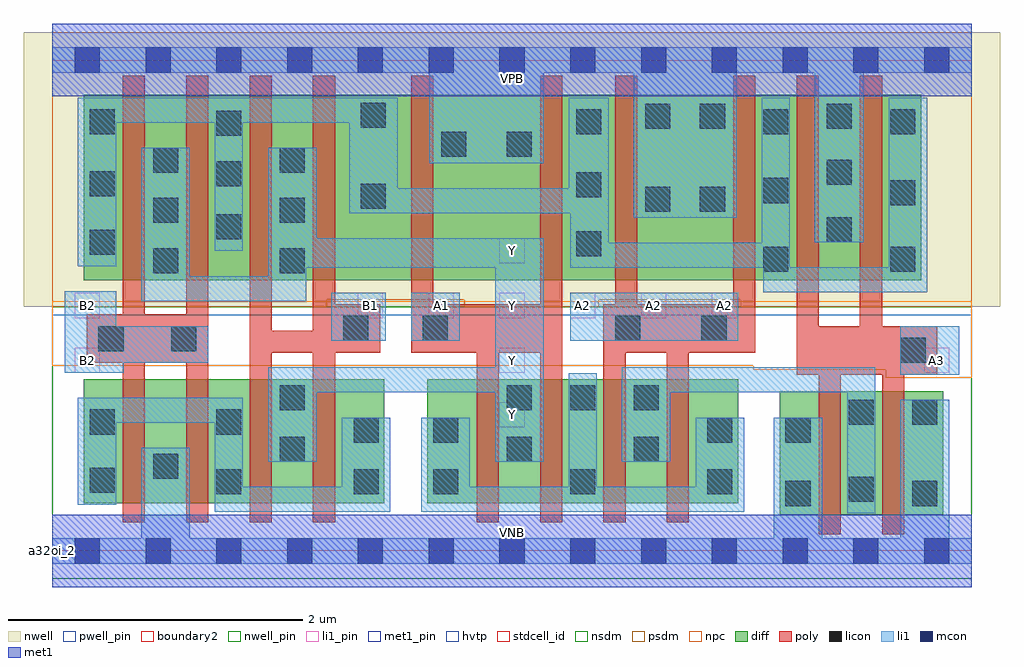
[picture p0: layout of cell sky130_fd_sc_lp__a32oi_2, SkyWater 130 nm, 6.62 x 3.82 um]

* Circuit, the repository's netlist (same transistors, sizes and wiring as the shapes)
* Copyright 2020 The SkyWater PDK Authors
*
* Licensed under the Apache License, Version 2.0 (the "License");
* you may not use this file except in compliance with the License.
* You may obtain a copy of the License at
*
*     https://www.apache.org/licenses/LICENSE-2.0
*
* Unless required by applicable law or agreed to in writing, software
* distributed under the License is distributed on an "AS IS" BASIS,
* WITHOUT WARRANTIES OR CONDITIONS OF ANY KIND, either express or implied.
* See the License for the specific language governing permissions and
* limitations under the License.
*
* SPDX-License-Identifier: Apache-2.0

.SUBCKT sky130_fd_sc_lp__a32oi_2 A1 A2 A3 B1 B2 VGND VNB VPB VPWR Y
*.PININFO A1:I A2:I A3:I B1:I B2:I VGND:I VNB:I VPB:I VPWR:I Y:O
MMPA0 pndA A1 VPWR VPB sky130_fd_pr__pfet_01v8_hvt m=2 w=1.26U l=0.15U mult=1 sa=0.265
+ sb=0.265 sd=0.28 area=0.063 perim=1.14
MMPA1 pndA A2 VPWR VPB sky130_fd_pr__pfet_01v8_hvt m=2 w=1.26U l=0.15U mult=1 sa=0.265
+ sb=0.265 sd=0.28 area=0.063 perim=1.14
MMPA2 pndA A3 VPWR VPB sky130_fd_pr__pfet_01v8_hvt m=2 w=1.26U l=0.15U mult=1 sa=0.265
+ sb=0.265 sd=0.28 area=0.063 perim=1.14
MMPB0 Y B1 pndA VPB sky130_fd_pr__pfet_01v8_hvt m=2 w=1.26U l=0.15U mult=1 sa=0.265
+ sb=0.265 sd=0.28 area=0.063 perim=1.14
MMPB1 Y B2 pndA VPB sky130_fd_pr__pfet_01v8_hvt m=2 w=1.26U l=0.15U mult=1 sa=0.265
+ sb=0.265 sd=0.28 area=0.063 perim=1.14
MMNA0 Y A1 sndA1 VNB sky130_fd_pr__nfet_01v8 m=2 w=0.84U l=0.15U mult=1 sa=0.265
+ sb=0.265 sd=0.28 area=0.063 perim=1.14
MMNA1 sndA1 A2 sndA2 VNB sky130_fd_pr__nfet_01v8 m=2 w=0.84U l=0.15U mult=1 sa=0.265
+ sb=0.265 sd=0.28 area=0.063 perim=1.14
MMNA2 sndA2 A3 VGND VNB sky130_fd_pr__nfet_01v8 m=2 w=0.84U l=0.15U mult=1 sa=0.265
+ sb=0.265 sd=0.28 area=0.063 perim=1.14
MMNB0 Y B1 sndB1 VNB sky130_fd_pr__nfet_01v8 m=2 w=0.84U l=0.15U mult=1 sa=0.265
+ sb=0.265 sd=0.28 area=0.063 perim=1.14
MMNB1 sndB1 B2 VGND VNB sky130_fd_pr__nfet_01v8 m=2 w=0.84U l=0.15U mult=1 sa=0.265
+ sb=0.265 sd=0.28 area=0.063 perim=1.14
.ENDS sky130_fd_sc_lp__a32oi_2

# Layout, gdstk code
import gdstk
lib = gdstk.Library(unit=1e-6, precision=1e-09)
def R(c, l, rs):  # rectangles x0, y0, x1, y1
    for r in rs: c.add(gdstk.rectangle(r[:2], r[2:], *l))
def A(c, l, x, y, w, h, nx, ny, dx, dy):  # array of equal rectangles
    R(c, l, [(x+i*dx, y+j*dy, x+i*dx+w, y+j*dy+h) for i in range(nx) for j in range(ny)])
def P(c, l, *ps):  # polygons
    for p in ps: c.add(gdstk.Polygon(p, *l))
nwell_pin = (64, 16)
nwell = (64, 20)
diff = (65, 20)
poly = (66, 20)
licon = (66, 44)
li1_pin = (67, 16)
li1 = (67, 20)
mcon = (67, 44)
met1_pin = (68, 16)
met1 = (68, 20)
hvtp = (78, 44)
stdcell_id = (81, 4)
nsdm = (93, 44)
psdm = (94, 20)
npc = (95, 20)
pwell_pin = (122, 16)
boundary2 = (236, 0)

sky130_fd_sc_lp__a32oi_2 = lib.new_cell('sky130_fd_sc_lp__a32oi_2')
R(sky130_fd_sc_lp__a32oi_2, nwell_pin, [(0,3.085,6.24,3.33)])
R(sky130_fd_sc_lp__a32oi_2, nwell, [(-0.19,1.655,6.43,3.52)])
R(sky130_fd_sc_lp__a32oi_2, diff, [(4.935,0.245,6.045,1.085), (0.215,0.325,2.255,1.165), (2.545,0.325,4.655,1.165), (0.215,1.835,5.895,3.095)])
P(sky130_fd_sc_lp__a32oi_2, poly, [(1.06,3.225),(0.91,3.225),(0.91,1.605),(0.63,1.605),(0.63,3.225),(0.48,3.225),(0.48,1.605),(0.235,1.605),(0.235,1.275),(0.48,1.275),(0.48,0.195),(0.63,0.195),(0.63,1.275),(0.91,1.275),(0.91,0.195),(1.06,0.195)],
  [(2.225,1.675),(1.92,1.675),(1.92,3.225),(1.77,3.225),(1.77,1.495),(1.49,1.495),(1.49,3.225),(1.34,3.225),(1.34,0.195),(1.49,0.195),(1.49,1.345),(1.77,1.345),(1.77,0.195),(1.92,0.195),(1.92,1.345),(2.225,1.345)],
  [(3.46,3.225),(3.31,3.225),(3.31,1.675),(2.585,1.675),(2.585,3.225),(2.435,3.225),(2.435,1.345),(2.88,1.345),(2.88,0.195),(3.03,0.195),(3.03,1.345),(3.31,1.345),(3.31,0.195),(3.46,0.195)],
  [(4.77,3.225),(4.62,3.225),(4.62,1.675),(3.97,1.675),(3.97,3.225),(3.82,3.225),(3.82,1.675),(3.74,1.675),(3.74,0.195),(3.89,0.195),(3.89,1.345),(4.17,1.345),(4.17,0.195),(4.32,0.195),(4.32,1.345),(4.77,1.345)],
  [(6.005,1.525),(5.63,1.525),(5.63,3.225),(5.48,3.225),(5.48,1.525),(5.2,1.525),(5.2,3.225),(5.05,3.225),(5.05,1.195),(5.2,1.195),(5.2,0.115),(5.35,0.115),(5.35,1.195),(5.63,1.195),(5.63,0.115),(5.78,0.115),(5.78,1.195),(6.005,1.195)])
A(sky130_fd_sc_lp__a32oi_2, licon, 2.585, 0.385, 0.17, 0.17, 3, 1, 0.93, 0)
A(sky130_fd_sc_lp__a32oi_2, licon, 3.085, 0.955, 0.17, 0.17, 3, 1, 0.43, 0)
A(sky130_fd_sc_lp__a32oi_2, licon, 0.685, 1.885, 0.17, 0.17, 1, 3, 0, 0.34)
A(sky130_fd_sc_lp__a32oi_2, licon, 1.545, 1.885, 0.17, 0.17, 1, 3, 0, 0.34)
A(sky130_fd_sc_lp__a32oi_2, licon, 4.825, 1.895, 0.17, 0.17, 1, 3, 0, 0.465)
R(sky130_fd_sc_lp__a32oi_2, licon, [(4.975,0.305,5.145,0.475), (5.835,0.305,6.005,0.475), (5.405,0.335,5.575,0.505), (1.115,0.385,1.285,0.555), (2.045,0.385,2.215,0.555), (0.255,0.395,0.425,0.565), (0.685,0.49,0.855,0.66), (1.545,0.605,1.715,0.775), (3.085,0.605,3.255,0.775), (3.945,0.605,4.115,0.775), (2.045,0.735,2.215,0.905), (2.585,0.735,2.755,0.905), (4.445,0.735,4.615,0.905), (4.975,0.735,5.145,0.905), (0.255,0.79,0.425,0.96), (1.115,0.79,1.285,0.96), (5.405,0.855,5.575,1.025), (5.835,0.855,6.005,1.025), (1.545,0.955,1.715,1.125), (5.755,1.275,5.925,1.445), (0.315,1.355,0.485,1.525), (0.81,1.355,0.98,1.525), (1.975,1.425,2.145,1.595), (2.515,1.425,2.685,1.595), (3.82,1.425,3.99,1.595), (4.405,1.425,4.575,1.595), (5.685,1.895,5.855,2.065), (3.555,2,3.725,2.17), (0.255,2.01,0.425,2.18), (5.255,2.095,5.425,2.265), (1.115,2.115,1.285,2.285), (4.025,2.3,4.195,2.47), (4.395,2.3,4.565,2.47), (2.095,2.32,2.265,2.49), (5.685,2.345,5.855,2.515), (3.555,2.4,3.725,2.57), (0.255,2.405,0.425,2.575), (1.115,2.475,1.285,2.645), (5.255,2.485,5.425,2.655), (2.64,2.675,2.81,2.845), (3.085,2.675,3.255,2.845), (1.115,2.815,1.285,2.985), (0.255,2.825,0.425,2.995), (3.555,2.825,3.725,2.995), (5.685,2.825,5.855,2.995), (4.025,2.865,4.195,3.035), (4.395,2.865,4.565,3.035), (5.255,2.865,5.425,3.035), (2.095,2.87,2.265,3.04)])
A(sky130_fd_sc_lp__a32oi_2, li1_pin, 0.155, 1.21, 0.17, 0.17, 3, 1, 2.88, 0)
A(sky130_fd_sc_lp__a32oi_2, li1_pin, 2.075, 1.58, 0.17, 0.17, 6, 1, 0.48, 0)
R(sky130_fd_sc_lp__a32oi_2, li1_pin, [(3.035,0.84,3.205,1.01), (0.155,1.58,0.325,1.75), (3.035,1.95,3.205,2.12)])
R(sky130_fd_sc_lp__a32oi_2, li1, [(5.755,1.195,6.155,1.525), (1.895,1.425,2.265,1.75), (2.435,1.425,2.765,1.75), (3.515,1.425,4.655,1.75)])
P(sky130_fd_sc_lp__a32oi_2, li1, [(5.175,2.095),(5.175,3.245),(4.645,3.245),(4.645,2.26),(3.945,2.26),(3.945,3.245),(3.335,3.245),(3.335,2.63),(2.56,2.63),(2.56,3.245),(0,3.245),(0,3.415),(6.24,3.415),(6.24,3.245),(5.505,3.245),(5.505,2.095)],
  [(4.895,0.085),(4.895,0.905),(5.225,0.905),(5.225,0.085),(5.755,0.085),(5.755,1.025),(6.085,1.025),(6.085,0.085),(6.24,0.085),(6.24,-0.085),(0,-0.085),(0,0.085),(0.605,0.085),(0.605,0.7),(0.935,0.7),(0.935,0.085)],
  [(3.005,0.605),(3.005,1.075),(1.795,1.075),(1.795,0.605),(1.465,0.605),(1.465,1.245),(3.005,1.245),(3.005,1.92),(1.725,1.92),(1.725,1.695),(0.605,1.695),(0.605,2.735),(0.935,2.735),(0.935,1.865),(1.465,1.865),(1.465,2.735),(1.795,2.735),(1.795,2.12),(3.335,2.12),(3.335,0.605)],
  [(1.06,1.525),(0.435,1.525),(0.435,1.76),(0.085,1.76),(0.085,1.21),(0.485,1.21),(0.485,1.275),(1.06,1.275)],
  [(5.005,1.925),(5.675,1.925),(5.675,3.075),(5.935,3.075),(5.935,1.755),(4.825,1.755),(4.825,1.92),(3.515,1.92),(3.515,2.29),(2.015,2.29),(2.015,2.905),(1.295,2.905),(1.295,2.035),(1.105,2.035),(1.105,2.905),(0.435,2.905),(0.435,1.93),(0.175,1.93),(0.175,3.075),(2.345,3.075),(2.345,2.46),(3.505,2.46),(3.505,3.075),(3.775,3.075),(3.775,2.09),(4.815,2.09),(4.815,3.075),(5.005,3.075)],
  [(5.395,1.075),(4.195,1.075),(4.195,0.605),(3.865,0.605),(3.865,1.245),(5.585,1.245),(5.585,0.255),(5.395,0.255)],
  [(3.695,0.435),(4.365,0.435),(4.365,0.905),(4.695,0.905),(4.695,0.265),(2.505,0.265),(2.505,0.905),(2.835,0.905),(2.835,0.435),(3.505,0.435),(3.505,1.205),(3.695,1.205)],
  [(1.295,0.435),(1.965,0.435),(1.965,0.905),(2.295,0.905),(2.295,0.265),(1.105,0.265),(1.105,0.87),(0.435,0.87),(0.435,0.315),(0.175,0.315),(0.175,1.04),(1.295,1.04)])
A(sky130_fd_sc_lp__a32oi_2, mcon, 0.155, -0.085, 0.17, 0.17, 13, 2, 0.48, 3.33)
R(sky130_fd_sc_lp__a32oi_2, met1_pin, [(0,0,6.24,0.245), (0,3.085,6.24,3.33)])
R(sky130_fd_sc_lp__a32oi_2, met1, [(0,-0.245,6.24,0.245), (0,3.085,6.24,3.575)])
R(sky130_fd_sc_lp__a32oi_2, hvtp, [(0,1.6,6.24,3.33)])
R(sky130_fd_sc_lp__a32oi_2, stdcell_id, [(0,0,6.24,3.33)])
R(sky130_fd_sc_lp__a32oi_2, nsdm, [(0,-0.19,6.24,1.655)])
P(sky130_fd_sc_lp__a32oi_2, psdm, [(6.24,3.52),(0,3.52),(0,1.655),(1.865,1.655),(1.865,1.705),(2.795,1.705),(2.795,1.655),(3.71,1.655),(3.71,1.705),(4.67,1.705),(4.67,1.655),(6.24,1.655)])
P(sky130_fd_sc_lp__a32oi_2, npc, [(6.24,1.695),(0,1.695),(0,1.255),(4.755,1.255),(4.755,1.23),(5.655,1.23),(5.655,1.175),(6.24,1.175)])
R(sky130_fd_sc_lp__a32oi_2, pwell_pin, [(0,0,6.24,0.245)])
R(sky130_fd_sc_lp__a32oi_2, boundary2, [(0,0,6.24,3.33)])
sky130_fd_sc_lp__a32oi_2.add(gdstk.Label('VNB', (3.12,0.123), layer=64, texttype=59))
sky130_fd_sc_lp__a32oi_2.add(gdstk.Label('VPB', (3.12,3.208), layer=64, texttype=5))
sky130_fd_sc_lp__a32oi_2.add(gdstk.Label('a32oi_2', (0,0), layer=83, texttype=44))
sky130_fd_sc_lp__a32oi_2.add(gdstk.Label('VPWR', (3.12,3.208), layer=68, texttype=5))
sky130_fd_sc_lp__a32oi_2.add(gdstk.Label('VGND', (3.12,0.123), layer=68, texttype=5))
sky130_fd_sc_lp__a32oi_2.add(gdstk.Label('Y', (3.12,0.925), layer=67, texttype=5))
sky130_fd_sc_lp__a32oi_2.add(gdstk.Label('Y', (3.12,1.295), layer=67, texttype=5))
sky130_fd_sc_lp__a32oi_2.add(gdstk.Label('Y', (3.12,1.665), layer=67, texttype=5))
sky130_fd_sc_lp__a32oi_2.add(gdstk.Label('Y', (3.12,2.035), layer=67, texttype=5))
sky130_fd_sc_lp__a32oi_2.add(gdstk.Label('A1', (2.64,1.665), layer=67, texttype=5))
sky130_fd_sc_lp__a32oi_2.add(gdstk.Label('A2', (3.6,1.665), layer=67, texttype=5))
sky130_fd_sc_lp__a32oi_2.add(gdstk.Label('A2', (4.08,1.665), layer=67, texttype=5))
sky130_fd_sc_lp__a32oi_2.add(gdstk.Label('A2', (4.56,1.665), layer=67, texttype=5))
sky130_fd_sc_lp__a32oi_2.add(gdstk.Label('A3', (6,1.295), layer=67, texttype=5))
sky130_fd_sc_lp__a32oi_2.add(gdstk.Label('B1', (2.16,1.665), layer=67, texttype=5))
sky130_fd_sc_lp__a32oi_2.add(gdstk.Label('B2', (0.24,1.295), layer=67, texttype=5))
sky130_fd_sc_lp__a32oi_2.add(gdstk.Label('B2', (0.24,1.665), layer=67, texttype=5))

lib.write_gds('sky130_fd_sc_lp__a32oi_2.gds')
